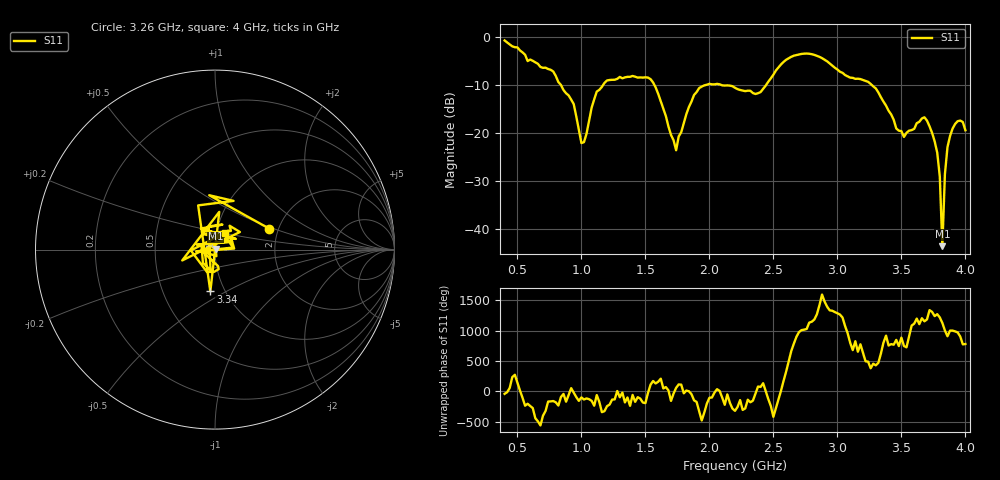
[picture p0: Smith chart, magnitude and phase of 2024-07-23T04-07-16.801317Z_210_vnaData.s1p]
!Created with skrf (http://scikit-rf.org).
# Hz S RI R 50.0
!freq ReS11 ImS11
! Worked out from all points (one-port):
!   181 points, 400 MHz to 4 GHz, reference 50 ohm
!   lowest |S11| = -43.5 dB at 3.82 GHz (marker M1), VSWR 1.01, Z = 50.5 + j0.489 ohm
!   |S11| at or under -10 dB: 1.57 GHz to 1.978 GHz (408.2 MHz wide, 23 % of centre); 2.09 GHz to 2.444 GHz (353.9 MHz wide, 15.6 % of centre); 3.267 GHz to end of sweep (the widest 3 of 4)
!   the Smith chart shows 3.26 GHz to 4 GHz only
!   S11 on the Smith chart (normalised r, x): 3.26 GHz: 1.78, +0.47; 3.34 GHz: 0.85, -0.42; 4 GHz: 1.09, +0.20
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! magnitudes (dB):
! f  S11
! 400 MHz  -0.8
! 780 MHz  -7.2
! 860 MHz  -11.1
! 940 MHz  -14.0
! 1 GHz  -22.1
! 1.12 GHz  -11.4
! 1.3 GHz  -8.4
! 1.54 GHz  -8.8
! 1.74 GHz  -23.6
! 1.76 GHz  -20.7
! 1.92 GHz  -10.7
! 2.2 GHz  -10.6
! 2.4 GHz  -11.5
! 2.66 GHz  -3.9
! 2.86 GHz  -4.2
! 3.1 GHz  -8.5
! 3.26 GHz  -9.8
! 3.34 GHz  -12.6
! 3.46 GHz  -19.1
! 3.56 GHz  -19.5
! 3.68 GHz  -16.8
! 3.76 GHz  -21.8
! 3.8 GHz  -29.1
! 3.82 GHz  -43.5
! 3.84 GHz  -28.6
! 3.86 GHz  -23.0
! 3.94 GHz  -17.6
! 4 GHz  -19.4
